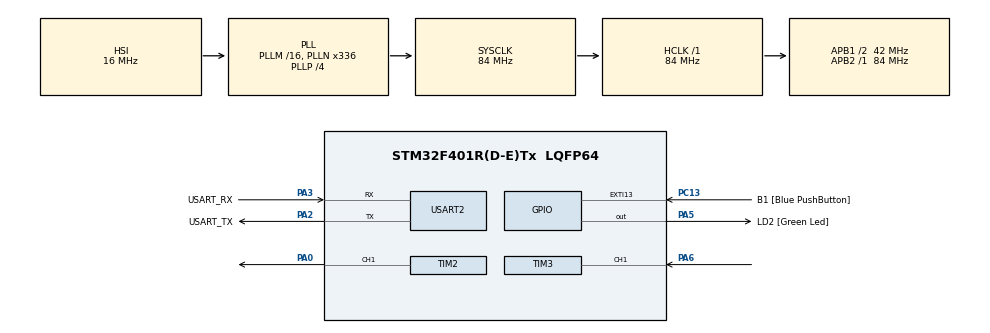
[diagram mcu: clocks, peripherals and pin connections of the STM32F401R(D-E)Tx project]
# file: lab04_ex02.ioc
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Mcu.Family=STM32F4
Mcu.Name=STM32F401R(D-E)Tx
Mcu.Package=LQFP64
NVIC.PriorityGroup=NVIC_PRIORITYGROUP_0
NVIC.TIM3_IRQn=true\:0\:0\:false\:false\:true\:true\:true\:true
NVIC.USART2_IRQn=true\:0\:0\:false\:false\:true\:true\:true\:true
PA0-WKUP.Signal=S_TIM2_CH1_ETR
PA13.GPIO_Label=TMS
PA13.Mode=Serial_Wire
PA13.Signal=SYS_JTMS-SWDIO
PA14.GPIO_Label=TCK
PA14.Mode=Serial_Wire
PA14.Signal=SYS_JTCK-SWCLK
PA2.GPIO_Label=USART_TX
PA2.GPIO_Mode=GPIO_MODE_AF_PP
PA2.GPIO_PuPd=GPIO_NOPULL
PA2.GPIO_Speed=GPIO_SPEED_FREQ_LOW
PA2.Mode=Asynchronous
PA2.Signal=USART2_TX
PA3.GPIO_Label=USART_RX
PA3.GPIO_Mode=GPIO_MODE_AF_PP
PA3.GPIO_PuPd=GPIO_NOPULL
PA3.GPIO_Speed=GPIO_SPEED_FREQ_LOW
PA3.Mode=Asynchronous
PA3.Signal=USART2_RX
PA5.GPIO_Label=LD2 [Green Led]
PA5.GPIO_Mode=GPIO_MODE_OUTPUT_PP
PA5.GPIO_PuPd=GPIO_NOPULL
PA5.GPIO_Speed=GPIO_SPEED_FREQ_LOW
PA5.Signal=GPIO_Output
PA6.Signal=S_TIM3_CH1
PB3.GPIO_Label=SWO
PB3.Signal=SYS_JTDO-SWO
PC13-ANTI_TAMP.GPIO_Label=B1 [Blue PushButton]
PC13-ANTI_TAMP.GPIO_ModeDefaultEXTI=GPIO_MODE_IT_FALLING
PC13-ANTI_TAMP.GPIO_PuPd=GPIO_NOPULL
PC13-ANTI_TAMP.Signal=GPXTI13
PC14-OSC32_IN.Mode=LSE-External-Oscillator
PC14-OSC32_IN.Signal=RCC_OSC32_IN
PC15-OSC32_OUT.Mode=LSE-External-Oscillator
PC15-OSC32_OUT.Signal=RCC_OSC32_OUT
PH0\ -\ OSC_IN.Mode=HSE-External-Clock-Source
PH0\ -\ OSC_IN.Signal=RCC_OSC_IN
PH1\ -\ OSC_OUT.Mode=HSE-External-Clock-Source
PH1\ -\ OSC_OUT.Signal=RCC_OSC_OUT
ProjectManager.HeapSize=0x200
ProjectManager.StackSize=0x400
ProjectManager.TargetToolchain=STM32CubeIDE
RCC.48MHZClocksFreq_Value=48000000
RCC.AHBFreq_Value=84000000
RCC.APB1CLKDivider=RCC_HCLK_DIV2
RCC.APB1Freq_Value=42000000
RCC.APB1TimFreq_Value=84000000
RCC.APB2Freq_Value=84000000
RCC.APB2TimFreq_Value=84000000
RCC.CortexFreq_Value=84000000
RCC.HCLKFreq_Value=84000000
RCC.HSE_VALUE=8000000
RCC.HSI_VALUE=16000000
RCC.PLLN=336
RCC.PLLP=RCC_PLLP_DIV4
RCC.PLLQ=7
RCC.SYSCLKFreq_VALUE=84000000
RCC.SYSCLKSource=RCC_SYSCLKSOURCE_PLLCLK
RCC.VCOOutputFreq_Value=336000000
SH.S_TIM2_CH1_ETR.0=TIM2_CH1,PWM Generation1 CH1
SH.S_TIM3_CH1.0=TIM3_CH1,Input_Capture1_from_TI1
TIM2.Channel-PWM\ Generation1\ CH1=TIM_CHANNEL_1
TIM2.Period=839999
TIM2.Pulse-PWM\ Generation1\ CH1=420000
TIM3.Channel-Input_Capture1_from_TI1=TIM_CHANNEL_1
TIM3.ICPolarity_CH1=TIM_INPUTCHANNELPOLARITY_BOTHEDGE
TIM3.Period=60000
TIM3.Prescaler=2099
USART2.VirtualMode=VM_ASYNC
VP_TIM3_VS_ClockSourceINT.Mode=Internal
board=NUCLEO-F401RE

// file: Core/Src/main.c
/* USER CODE BEGIN Header */
/**
  ******************************************************************************
  * @file           : main.c
  * @brief          : Main program body
  ******************************************************************************
  * @attention
  *
  * Copyright (c) 2023 STMicroelectronics.
  * All rights reserved.
  *
  * This software is licensed under terms that can be found in the LICENSE file
  * in the root directory of this software component.
  * If no LICENSE file comes with this software, it is provided AS-IS.
  *
  ******************************************************************************
  */
/* USER CODE END Header */
#include "main.h"

TIM_HandleTypeDef htim2;
TIM_HandleTypeDef htim3;

UART_HandleTypeDef huart2;

void SystemClock_Config(void);
static void MX_GPIO_Init(void);
static void MX_USART2_UART_Init(void);
static void MX_TIM3_Init(void);
static void MX_TIM2_Init(void);

/* USER CODE BEGIN 0 */

volatile int CaptureCompare_FLAG = 0; // Capture compare flag
volatile int correctlyReceivedData = 0;

void HAL_TIM_IC_CaptureCallback(TIM_HandleTypeDef *htim){
	CaptureCompare_FLAG = 1; // Once there is a Capture Event, this flag is set
}

void HAL_UART_RxCpltCallback(UART_HandleTypeDef *huart){
	  // Set Rx flag
	  correctlyReceivedData = 1;
}

/* USER CODE END 0 */

int main(void)
{

  /* MCU Configuration--------------------------------------------------------*/

  /* Reset of all peripherals, Initializes the Flash interface and the Systick. */
  HAL_Init();

  /* Configure the system clock */
  SystemClock_Config();

  /* Initialize all configured peripherals */
  MX_GPIO_Init();
  MX_USART2_UART_Init();
  MX_TIM3_Init();
  MX_TIM2_Init();
  /* USER CODE BEGIN 2 */
  int Captured_Value; // Will store the most recent value in the CaptureCompare Register.

  int r_edge_counter = 0; // This will help to keep track of how many times a rising edge was detected
  int f_edge_counter = 0; // The same, but for falling edges

  int rising_edge[2]; // Will store the Capture Value of the 2 most recent rising edges
  int falling_edge[2]; // Will store the Capture Value of the 2 most recent falling edges

  char buffer[40]; // This variable will be used for transmitting data

  char received_number; // Stores the user input

  char welcome_message[] = "The code is now running. Type 1 to see the frequency and 2 to see the duty cycle. \n";

  int period; //period, not in seconds, but in 'ticks'
  int freq; // frequency of the input wave, in Hz
  int duty_cycle; // Duty cycle of the input wave, in percentage %

  /* USER CODE END 2 */

  /* Infinite loop */
  /* USER CODE BEGIN WHILE */
  HAL_TIM_IC_Start_IT(&htim3, TIM_CHANNEL_1); // Starts the counter in Input Capture mode with global interrupts enabled
  // HAL_TIM_PWM_Start(&htim2, TIM_CHANNEL_1); // Starts the PWM for input wave

  HAL_UART_Transmit_IT(&huart2, (uint8_t *)welcome_message, sizeof(char)*strlen(welcome_message)); // Print welcome message

  while (1)
  {

	// The following IF code was done taking into consideration the logic for interrupts presented in the previous exercise
	// In which the callback function simply sets a flag, and all the necessary operations based on this are realized in the while loop

	if(CaptureCompare_FLAG == 1){
		CaptureCompare_FLAG = 0;
		Captured_Value = HAL_TIM_ReadCapturedValue(&htim3, TIM_CHANNEL_1); // Read the captured value

		if(HAL_GPIO_ReadPin(GPIOA, GPIO_PIN_6) == 1){
			rising_edge[r_edge_counter] = Captured_Value; // Stores the captured value as a rising edge
			r_edge_counter++; // Increments the counter of rising edges
		}

		else{
			falling_edge[f_edge_counter] = Captured_Value; // Stores the captured value as a falling edge
			f_edge_counter++; // Increments the counter of falling edges
		}
	}

	if(f_edge_counter > 1 && r_edge_counter > 1){
		r_edge_counter=0; // Resets the counter of edges
		f_edge_counter=0;

		if(rising_edge[1] > rising_edge[0]){ // Fail-safe to prevent error
			period = rising_edge[1] - rising_edge[0];
			duty_cycle = 100*abs(rising_edge[0] - falling_edge[0])/period; // duty cycle in percentage
			// Due to custom configuration of the internal clock and timer
			// We have then that 1 tick of  the counter = 1/40,000 seconds;
			// period in seconds = period in ticks /40,000
		}
		freq = 40000/period; // frequency in Hz
 	}

	HAL_UART_Receive_IT(&huart2, &received_number, 1); // Prepare for user input

	// Check RX flag
   if (correctlyReceivedData == 1) {
	   correctlyReceivedData = 0;
	   if(received_number == '1'){
 		   HAL_UART_Transmit_IT(&huart2, buffer, sprintf(buffer, "The measured frequency is %d Hz \n", freq));
	   }

	   else if(received_number == '2'){
		   HAL_UART_Transmit_IT(&huart2, buffer, sprintf(buffer, "The measured duty cycle is %d%% \n", duty_cycle));
	   	   }
   }

    /* USER CODE END WHILE */

  }
}

void SystemClock_Config(void)
{
  RCC_OscInitTypeDef RCC_OscInitStruct = {0};
  RCC_ClkInitTypeDef RCC_ClkInitStruct = {0};

  /** Configure the main internal regulator output voltage
  */
  __HAL_RCC_PWR_CLK_ENABLE();
  __HAL_PWR_VOLTAGESCALING_CONFIG(PWR_REGULATOR_VOLTAGE_SCALE2);

  /** Initializes the RCC Oscillators according to the specified parameters
  * in the RCC_OscInitTypeDef structure.
  */
  RCC_OscInitStruct.OscillatorType = RCC_OSCILLATORTYPE_HSI;
  RCC_OscInitStruct.HSIState = RCC_HSI_ON;
  RCC_OscInitStruct.HSICalibrationValue = RCC_HSICALIBRATION_DEFAULT;
  RCC_OscInitStruct.PLL.PLLState = RCC_PLL_ON;
  RCC_OscInitStruct.PLL.PLLSource = RCC_PLLSOURCE_HSI;
  RCC_OscInitStruct.PLL.PLLM = 16;
  RCC_OscInitStruct.PLL.PLLN = 336;
  RCC_OscInitStruct.PLL.PLLP = RCC_PLLP_DIV4;
  RCC_OscInitStruct.PLL.PLLQ = 7;
  if (HAL_RCC_OscConfig(&RCC_OscInitStruct) != HAL_OK)
  {
    Error_Handler();
  }

  /** Initializes the CPU, AHB and APB buses clocks
  */
  RCC_ClkInitStruct.ClockType = RCC_CLOCKTYPE_HCLK|RCC_CLOCKTYPE_SYSCLK
                              |RCC_CLOCKTYPE_PCLK1|RCC_CLOCKTYPE_PCLK2;
  RCC_ClkInitStruct.SYSCLKSource = RCC_SYSCLKSOURCE_PLLCLK;
  RCC_ClkInitStruct.AHBCLKDivider = RCC_SYSCLK_DIV1;
  RCC_ClkInitStruct.APB1CLKDivider = RCC_HCLK_DIV2;
  RCC_ClkInitStruct.APB2CLKDivider = RCC_HCLK_DIV1;

  if (HAL_RCC_ClockConfig(&RCC_ClkInitStruct, FLASH_LATENCY_2) != HAL_OK)
  {
    Error_Handler();
  }
}

static void MX_TIM2_Init(void)
{

  TIM_MasterConfigTypeDef sMasterConfig = {0};
  TIM_OC_InitTypeDef sConfigOC = {0};

  htim2.Instance = TIM2;
  htim2.Init.Prescaler = 0;
  htim2.Init.CounterMode = TIM_COUNTERMODE_UP;
  htim2.Init.Period = 839999;
  htim2.Init.ClockDivision = TIM_CLOCKDIVISION_DIV1;
  htim2.Init.AutoReloadPreload = TIM_AUTORELOAD_PRELOAD_DISABLE;
  if (HAL_TIM_PWM_Init(&htim2) != HAL_OK)
  {
    Error_Handler();
  }
  sMasterConfig.MasterOutputTrigger = TIM_TRGO_RESET;
  sMasterConfig.MasterSlaveMode = TIM_MASTERSLAVEMODE_DISABLE;
  if (HAL_TIMEx_MasterConfigSynchronization(&htim2, &sMasterConfig) != HAL_OK)
  {
    Error_Handler();
  }
  sConfigOC.OCMode = TIM_OCMODE_PWM1;
  sConfigOC.Pulse = 420000;
  sConfigOC.OCPolarity = TIM_OCPOLARITY_HIGH;
  sConfigOC.OCFastMode = TIM_OCFAST_DISABLE;
  if (HAL_TIM_PWM_ConfigChannel(&htim2, &sConfigOC, TIM_CHANNEL_1) != HAL_OK)
  {
    Error_Handler();
  }
  HAL_TIM_MspPostInit(&htim2);

}

static void MX_TIM3_Init(void)
{

  TIM_ClockConfigTypeDef sClockSourceConfig = {0};
  TIM_MasterConfigTypeDef sMasterConfig = {0};
  TIM_IC_InitTypeDef sConfigIC = {0};

  htim3.Instance = TIM3;
  htim3.Init.Prescaler = 2099;
  htim3.Init.CounterMode = TIM_COUNTERMODE_UP;
  htim3.Init.Period = 60000;
  htim3.Init.ClockDivision = TIM_CLOCKDIVISION_DIV1;
  htim3.Init.AutoReloadPreload = TIM_AUTORELOAD_PRELOAD_DISABLE;
  if (HAL_TIM_Base_Init(&htim3) != HAL_OK)
  {
    Error_Handler();
  }
  sClockSourceConfig.ClockSource = TIM_CLOCKSOURCE_INTERNAL;
  if (HAL_TIM_ConfigClockSource(&htim3, &sClockSourceConfig) != HAL_OK)
  {
    Error_Handler();
  }
  if (HAL_TIM_IC_Init(&htim3) != HAL_OK)
  {
    Error_Handler();
  }
  sMasterConfig.MasterOutputTrigger = TIM_TRGO_RESET;
  sMasterConfig.MasterSlaveMode = TIM_MASTERSLAVEMODE_DISABLE;
  if (HAL_TIMEx_MasterConfigSynchronization(&htim3, &sMasterConfig) != HAL_OK)
  {
    Error_Handler();
  }
  sConfigIC.ICPolarity = TIM_INPUTCHANNELPOLARITY_BOTHEDGE;
  sConfigIC.ICSelection = TIM_ICSELECTION_DIRECTTI;
  sConfigIC.ICPrescaler = TIM_ICPSC_DIV1;
  sConfigIC.ICFilter = 0;
  if (HAL_TIM_IC_ConfigChannel(&htim3, &sConfigIC, TIM_CHANNEL_1) != HAL_OK)
  {
    Error_Handler();
  }

}

static void MX_USART2_UART_Init(void)
{

  huart2.Instance = USART2;
  huart2.Init.BaudRate = 115200;
  huart2.Init.WordLength = UART_WORDLENGTH_8B;
  huart2.Init.StopBits = UART_STOPBITS_1;
  huart2.Init.Parity = UART_PARITY_NONE;
  huart2.Init.Mode = UART_MODE_TX_RX;
  huart2.Init.HwFlowCtl = UART_HWCONTROL_NONE;
  huart2.Init.OverSampling = UART_OVERSAMPLING_16;
  if (HAL_UART_Init(&huart2) != HAL_OK)
  {
    Error_Handler();
  }

}

static void MX_GPIO_Init(void)
{
  GPIO_InitTypeDef GPIO_InitStruct = {0};

  /* GPIO Ports Clock Enable */
  __HAL_RCC_GPIOC_CLK_ENABLE();
  __HAL_RCC_GPIOH_CLK_ENABLE();
  __HAL_RCC_GPIOA_CLK_ENABLE();
  __HAL_RCC_GPIOB_CLK_ENABLE();

  /*Configure GPIO pin Output Level */
  HAL_GPIO_WritePin(LD2_GPIO_Port, LD2_Pin, GPIO_PIN_RESET);

  /*Configure GPIO pin : B1_Pin */
  GPIO_InitStruct.Pin = B1_Pin;
  GPIO_InitStruct.Mode = GPIO_MODE_IT_FALLING;
  GPIO_InitStruct.Pull = GPIO_NOPULL;
  HAL_GPIO_Init(B1_GPIO_Port, &GPIO_InitStruct);

  /*Configure GPIO pin : LD2_Pin */
  GPIO_InitStruct.Pin = LD2_Pin;
  GPIO_InitStruct.Mode = GPIO_MODE_OUTPUT_PP;
  GPIO_InitStruct.Pull = GPIO_NOPULL;
  GPIO_InitStruct.Speed = GPIO_SPEED_FREQ_LOW;
  HAL_GPIO_Init(LD2_GPIO_Port, &GPIO_InitStruct);

}

void Error_Handler(void)
{
  __disable_irq();
  while (1)
  {
  }
}
